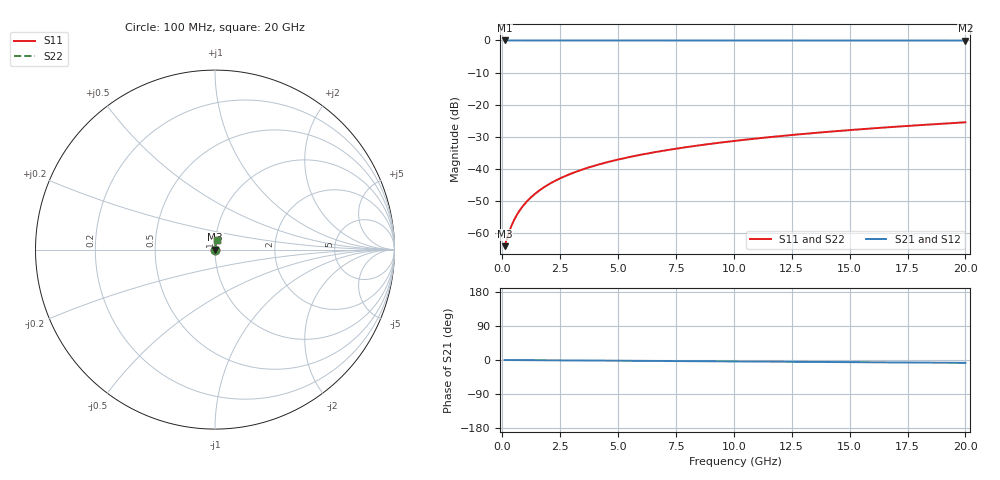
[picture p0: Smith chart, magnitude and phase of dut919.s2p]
! Touchstone file exported from HFSS 2026.1.0
!  File:  C:/ffzhzh/LocalFiles/Ansys_Project_Files/temp_train_TSV_919_1783186565_43440.aedt
!  Generated:  01:38:22 AM Jul  5, 2026
!  Design:  TSV
!  Project:  temp_train_TSV_919_1783186565_43440
! Variables:
!  h_bsmrdl = 2um
!  h_ox = 20um
!  h_rdl = 5um
!  h_sub = 69.33um
!  h_tmrdl = 5um
!  h_tsv = 69.33um
!  h_via = 3um
!  l_bsmrdl = 300um
!  l_sub = 407.82um
!  l_tmrdl = 200um
!  m_sub = 200um
!  pitch = 29.7um
!  r_tsv = 3.91um
!  s_tmrdl = 10um
!  w_bsmrdl = 18um
!  w_sub = 500um
!  w_tmrdl = 12um
!  x_tsv_center1 = 206um
!  x_tsv_center2 = 524um
!  x_tsv_center3 = 736um
!  x_tsv_center4 = 1054um
!  x_tsv_center5 = 1266um
!  x_tsv_center6 = 1584um
# GHz S MA R 50.000000
! Terminal data exported
! Port[1] = TSV1_1_T1
! Port[2] = TSV1_1_T2
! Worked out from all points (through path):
!   200 points, 100 MHz to 20 GHz, reference 50 ohm
!   highest |S21| = 0.00 dB at 100 MHz (marker M1); lowest = 0.0 dB at 20 GHz (marker M2)
!   group delay of S21, straight-line fit = 1.04 ps
!   lowest |S11| = -64.0 dB at 100 MHz (marker M3), VSWR 1.00, Z = 50.1 + j0.0303 ohm
!   |S11| at or under -10 dB: start of sweep to end of sweep
!   |S22| runs from -64.0 to -25.5 dB; largest |S21 - S12| = 2.3e-15
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0.1  0.0006283 28.8  0.9994 -0.0  0.9994 -0.0  0.0006283 28.8
! Gamma 0 0 0 0
! Port Impedance 50 0 50 0
0.3  0.001061 57.1  0.9994 -0.1  0.9994 -0.1  0.001061 57.1
0.4  0.001316 63.4  0.9994 -0.2  0.9994 -0.2  0.001316 63.4
0.5  0.001579 67.6  0.9994 -0.2  0.9994 -0.2  0.001579 67.6
0.6  0.001848 70.6  0.9994 -0.2  0.9994 -0.2  0.001848 70.6
0.7  0.00212 72.9  0.9994 -0.3  0.9994 -0.3  0.00212 72.9
0.9  0.00267 76.1  0.9994 -0.3  0.9994 -0.3  0.00267 76.1
1.2  0.003505 78.8  0.9993 -0.5  0.9993 -0.5  0.003505 78.8
1.4  0.004065 80.0  0.9993 -0.5  0.9993 -0.5  0.004065 80.0
1.7  0.004906 81.2  0.9993 -0.7  0.9993 -0.7  0.004906 81.2
2.2  0.006306 82.4  0.9992 -0.9  0.9992 -0.9  0.006306 82.4
2.8  0.007978 83.1  0.9992 -1.1  0.9992 -1.1  0.007978 83.1
3.5  0.009913 83.4  0.999 -1.3  0.999 -1.3  0.009913 83.4
4.2  0.01183 83.5  0.9989 -1.6  0.9989 -1.6  0.01183 83.5
5  0.014 83.5  0.9988 -1.9  0.9988 -1.9  0.014 83.5
5.9  0.01641 83.4  0.9986 -2.3  0.9986 -2.3  0.01641 83.4
6.8  0.01881 83.3  0.9985 -2.6  0.9985 -2.6  0.01881 83.3
8.3  0.02277 83.0  0.9982 -3.2  0.9982 -3.2  0.02277 83.0
10.1  0.02749 82.7  0.9979 -3.8  0.9979 -3.8  0.02749 82.7
13.4  0.0361 81.9  0.9974 -5.1  0.9974 -5.1  0.0361 81.9
16.7  0.04465 80.9  0.9968 -6.3  0.9968 -6.3  0.04465 80.9
20  0.05316 79.9  0.9962 -7.5  0.9962 -7.5  0.05316 79.9
